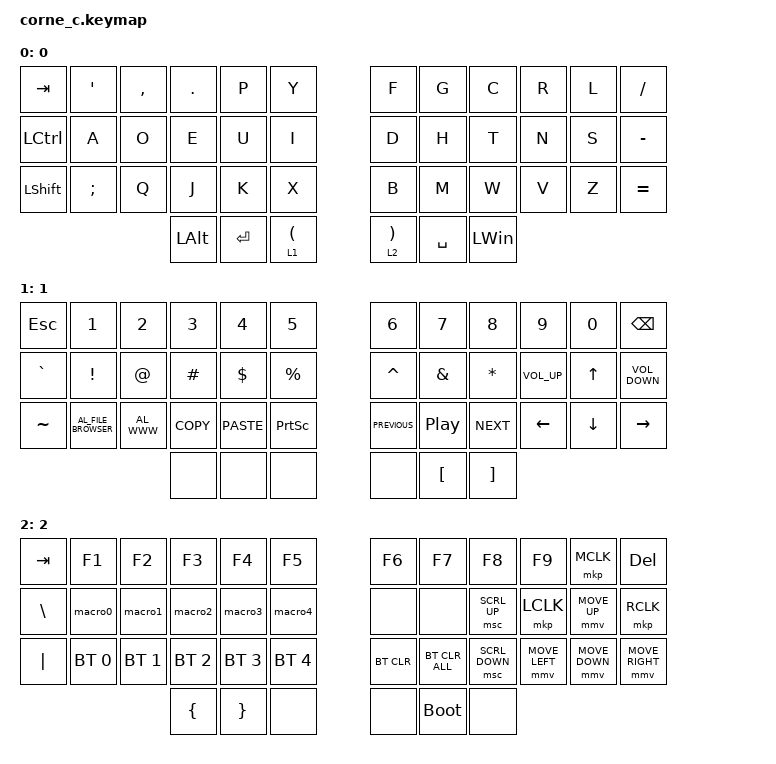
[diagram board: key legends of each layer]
/*
 * Copyright (c) 2020 The ZMK Contributors
 *
 * SPDX-License-Identifier: MIT
 */

#include <behaviors.dtsi>
#include <dt-bindings/zmk/bt.h>
#include <dt-bindings/zmk/keys.h>
#include <dt-bindings/zmk/pointing.h>

#define DEFAULT    0
#define NUMSYMB    1
#define NAVIGATION  2
#define SHORTCUTS   3

&lt {
    flavor = "balanced";
    tapping-term-ms = <100>;
};

/ {
    combos { compatible = "zmk,combos"; };

    macros {
        macro0: macro0 {
            compatible = "zmk,behavior-macro";
            #binding-cells = <0>;
            bindings = <&kp LS(I) &kp L &kp L &kp N2 &kp N3 &kp N4 &kp EXCL &kp AT &kp POUND &kp DLLR &kp STAR &kp AMPS>;
            label = "MACRO0";
        };

        macro1: macro1 {
            compatible = "zmk,behavior-macro";
            #binding-cells = <0>;
            bindings = <&none &kp O &kp E &kp U &kp N &kp T &kp H &kp H>;
            label = "MACRO1";
        };

        macro2: macro2 {
            compatible = "zmk,behavior-macro";
            #binding-cells = <0>;
            bindings = <&none &kp DLLR &kp STAR &kp BSLH &kp PIPE &kp GRAVE &kp TILDE &kp MINUS &kp MINUS &kp UNDER &kp PLUS &kp N2 &kp N3 &kp N4 &kp N8 &kp N9 &kp N7 &kp N8 &kp N3 &kp N1 &kp AT &kp POUND &kp DLLR &kp PRCNT &kp CARET &kp DLLR &kp AMPS &kp STAR &kp EXCL &kp AT &kp POUND>;
            label = "MACRO2";
        };

        macro3: macro3 {
            compatible = "zmk,behavior-macro";
            #binding-cells = <0>;
            bindings = <&none>;
            label = "MACRO3";
        };

        macro4: macro4 {
            compatible = "zmk,behavior-macro";
            #binding-cells = <0>;
            bindings = <&none>;
            label = "MACRO4";
        };
    };

    keymap {
        compatible = "zmk,keymap";

        layer0 {
            label = "0";
            bindings = <
&kp TAB           &kp SQT        &kp COMMA  &kp PERIOD    &kp P      &kp Y                     &kp F                    &kp G      &kp C         &kp R  &kp L  &kp SLASH
&kp LEFT_CONTROL  &kp A          &kp O      &kp E         &kp U      &kp I                     &kp D                    &kp H      &kp T         &kp N  &kp S  &kp MINUS
&kp LEFT_SHIFT    &kp SEMICOLON  &kp Q      &kp J         &kp K      &kp X                     &kp B                    &kp M      &kp W         &kp V  &kp Z  &kp EQUAL
                                            &kp LEFT_ALT  &kp ENTER  &lt 1 LEFT_PARENTHESIS    &lt 2 RIGHT_PARENTHESIS  &kp SPACE  &kp LEFT_WIN
            >;
        };

        layer1 {
            label = "1";
            bindings = <
&kp ESC    &kp N1                 &kp N2        &kp N3      &kp N4       &kp N5             &kp N6          &kp N7            &kp N8             &kp N9           &kp N0          &kp BSPC
&kp GRAVE  &kp EXCLAMATION        &kp AT_SIGN   &kp HASH    &kp DOLLAR   &kp PERCENT        &kp CARET       &kp AMPERSAND     &kp ASTERISK       &kp C_VOLUME_UP  &kp UP_ARROW    &kp C_VOLUME_DOWN
&kp TILDE  &kp C_AL_FILE_BROWSER  &kp C_AL_WWW  &kp K_COPY  &kp K_PASTE  &kp PRINTSCREEN    &kp C_PREVIOUS  &kp C_PLAY_PAUSE  &kp C_NEXT         &kp LEFT_ARROW   &kp DOWN_ARROW  &kp RIGHT_ARROW
                                                &none       &none        &none              &none           &kp LEFT_BRACKET  &kp RIGHT_BRACKET
            >;
        };

        layer2 {
            label = "2";
            bindings = <
&kp TAB        &kp F1        &kp F2        &kp F3          &kp F4           &kp F5          &kp F6      &kp F7          &kp F8          &kp F9          &mkp MCLK       &kp DELETE
&kp BACKSLASH  &macro0       &macro1       &macro2         &macro3          &macro4         &none       &none           &msc SCRL_UP    &mkp LCLK       &mmv MOVE_UP    &mkp RCLK
&kp PIPE       &bt BT_SEL 0  &bt BT_SEL 1  &bt BT_SEL 2    &bt BT_SEL 3     &bt BT_SEL 4    &bt BT_CLR  &bt BT_CLR_ALL  &msc SCRL_DOWN  &mmv MOVE_LEFT  &mmv MOVE_DOWN  &mmv MOVE_RIGHT
                                           &kp LEFT_BRACE  &kp RIGHT_BRACE  &none           &none       &bootloader     &none
            >;
        };
    };
};
